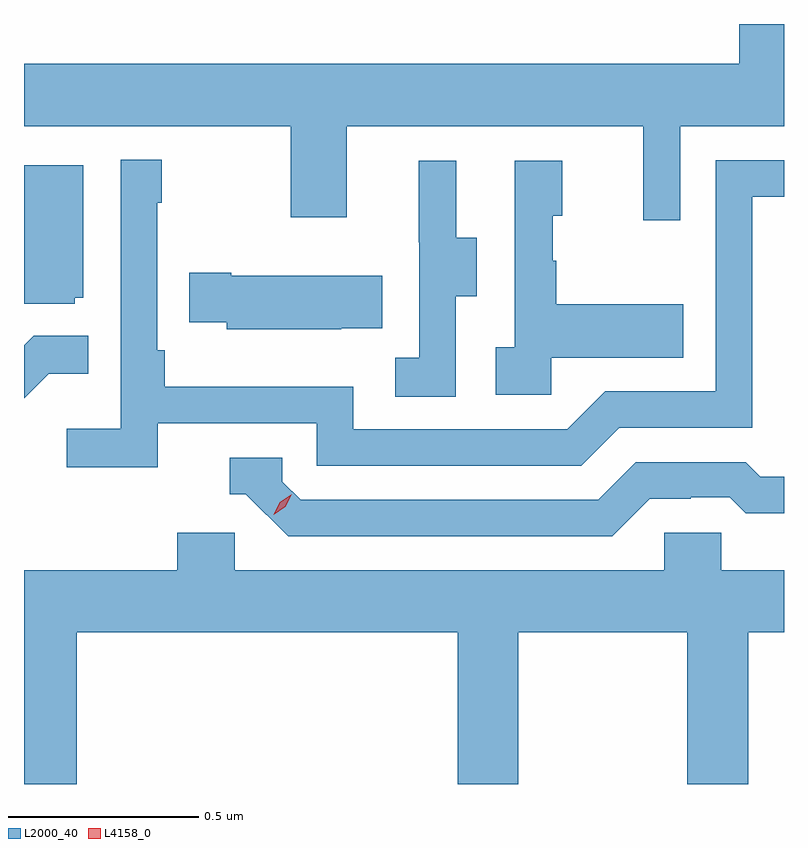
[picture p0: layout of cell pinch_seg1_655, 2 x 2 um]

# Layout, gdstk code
import gdstk
lib = gdstk.Library(unit=1e-6, precision=1e-09)
def P(c, l, *ps):  # polygons
    for p in ps: c.add(gdstk.Polygon(p, *l))
L2000_40 = (2000, 40)
L4158_0 = (4158, 0)

pinch_seg1_655 = lib.new_cell('pinch_seg1_655')
P(pinch_seg1_655, L2000_40, [(1110.795,510.44),(1111.068,510.44),(1111.068,510.709),(1110.95,510.709),(1110.95,510.604),(1109.068,510.604),(1109.068,510.44),(1109.77,510.44),(1109.77,510.201),(1109.917,510.201),(1109.917,510.44),(1110.698,510.44),(1110.698,510.192),(1110.795,510.192)],
  [(1109.42,509.658),(1109.838,509.658),(1109.838,509.547),(1110.535,509.547),(1110.634,509.646),(1110.984,509.646),(1110.984,510.255),(1111.068,510.255),(1111.068,510.351),(1110.888,510.351),(1110.888,509.742),(1110.597,509.742),(1110.498,509.643),(1109.934,509.643),(1109.934,509.755),(1109.438,509.755),(1109.438,509.851),(1109.418,509.851),(1109.418,510.239),(1109.431,510.239),(1109.431,510.352),(1109.322,510.352),(1109.322,509.644),(1109.181,509.644),(1109.181,509.542),(1109.42,509.542)],
  [(1110.204,509.992),(1110.259,509.992),(1110.259,510.147),(1110.205,510.147),(1110.205,510.349),(1110.107,510.349),(1110.107,510.135),(1110.108,510.135),(1110.108,509.831),(1110.045,509.831),(1110.045,509.728),(1110.204,509.728)],
  [(1110.456,509.831),(1110.803,509.831),(1110.803,509.971),(1110.469,509.971),(1110.469,510.086),(1110.459,510.086),(1110.459,510.204),(1110.484,510.204),(1110.484,510.349),(1110.36,510.349),(1110.36,509.858),(1110.309,509.858),(1110.309,509.733),(1110.456,509.733)],
  [(1109.202,509.988),(1109.224,509.988),(1109.224,510.337),(1109.068,510.337),(1109.068,509.973),(1109.202,509.973)],
  [(1109.903,509.909),(1110.011,509.909),(1110.011,510.046),(1109.614,510.046),(1109.614,510.054),(1109.503,510.054),(1109.503,509.924),(1109.601,509.924),(1109.601,509.906),(1109.903,509.906)],
  [(1109.133,509.789),(1109.237,509.789),(1109.237,509.888),(1109.093,509.888),(1109.068,509.863),(1109.068,509.724)],
  [(1110.715,509.46),(1110.822,509.46),(1110.822,509.463),(1110.925,509.463),(1110.967,509.421),(1111.068,509.421),(1111.068,509.517),(1111.006,509.517),(1110.967,509.556),(1110.678,509.556),(1110.579,509.457),(1109.796,509.457),(1109.748,509.505),(1109.748,509.568),(1109.609,509.568),(1109.609,509.472),(1109.652,509.472),(1109.763,509.361),(1110.616,509.361)],
  [(1109.207,509.108),(1110.209,509.108),(1110.209,508.709),(1110.369,508.709),(1110.369,509.108),(1110.814,509.108),(1110.814,508.709),(1110.974,508.709),(1110.974,509.108),(1111.068,509.108),(1111.068,509.272),(1110.903,509.272),(1110.903,509.37),(1110.753,509.37),(1110.753,509.272),(1109.622,509.272),(1109.622,509.37),(1109.471,509.37),(1109.471,509.272),(1109.068,509.272),(1109.068,508.709),(1109.207,508.709)])
P(pinch_seg1_655, L4158_0, [(1109.725,509.418),(1109.725,509.419),(1109.741,509.451),(1109.772,509.471),(1109.772,509.471),(1109.772,509.471),(1109.756,509.438),(1109.725,509.418)])

lib.write_gds('pinch_seg1_655.gds')
